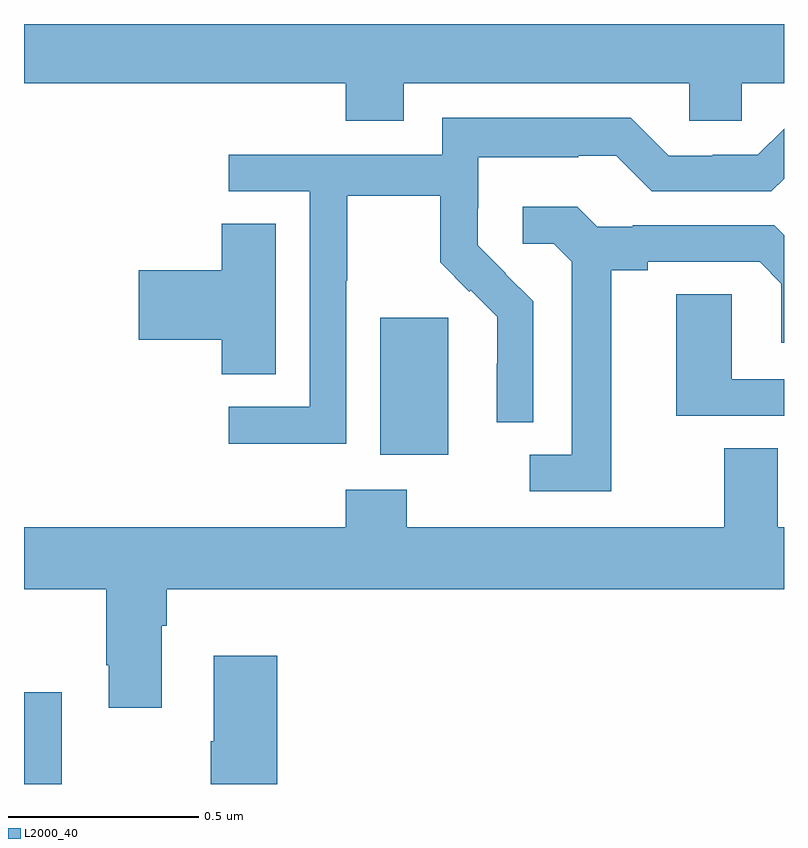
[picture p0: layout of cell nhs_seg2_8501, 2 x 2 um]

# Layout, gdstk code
import gdstk
lib = gdstk.Library(unit=1e-6, precision=1e-09)
def R(c, l, rs):  # rectangles x0, y0, x1, y1
    for r in rs: c.add(gdstk.rectangle(r[:2], r[2:], *l))
def P(c, l, *ps):  # polygons
    for p in ps: c.add(gdstk.Polygon(p, *l))
L2000_40 = (2000, 40)

nhs_seg2_8501 = lib.new_cell('nhs_seg2_8501')
R(nhs_seg2_8501, L2000_40, [(217,637.8,217.099,638.041), (217.937,638.666,218.116,639.027)])
P(nhs_seg2_8501, L2000_40, [(217.999,639.644),(218.751,639.644),(218.751,639.546),(218.889,639.546),(218.889,639.644),(219,639.644),(219,639.8),(217,639.8),(217,639.644),(217.847,639.644),(217.847,639.545),(217.999,639.545)],
  [(217.848,639.124),(217.851,639.124),(217.851,639.348),(218.095,639.348),(218.095,639.173),(218.172,639.096),(218.175,639.099),(218.246,639.029),(218.246,638.906),(218.244,638.906),(218.244,638.752),(218.34,638.752),(218.34,639.07),(218.267,639.143),(218.268,639.144),(218.194,639.218),(218.194,639.315),(218.196,639.315),(218.196,639.449),(218.459,639.449),(218.459,639.453),(218.559,639.453),(218.652,639.36),(218.967,639.36),(219,639.393),(219,639.525),(218.931,639.456),(218.813,639.456),(218.813,639.453),(218.697,639.453),(218.597,639.553),(218.1,639.553),(218.1,639.456),(217.539,639.456),(217.539,639.36),(217.752,639.36),(217.752,638.793),(217.539,638.793),(217.539,638.695),(217.848,638.695)],
  [(218.545,639.152),(218.641,639.152),(218.641,639.174),(218.936,639.174),(218.993,639.117),(218.993,638.961),(219,638.961),(219,639.244),(218.974,639.27),(218.602,639.27),(218.602,639.267),(218.508,639.267),(218.456,639.319),(218.313,639.319),(218.313,639.222),(218.394,639.222),(218.441,639.175),(218.441,638.667),(218.331,638.667),(218.331,638.571),(218.545,638.571)],
  [(217.663,639.275),(217.52,639.275),(217.52,639.152),(217.302,639.152),(217.302,638.969),(217.52,638.969),(217.52,638.878),(217.663,638.878)],
  [(219,638.865),(218.862,638.865),(218.862,639.089),(218.717,639.089),(218.717,638.769),(219,638.769)],
  [(217.363,638.216),(217.376,638.216),(217.376,638.312),(219,638.312),(219,638.476),(218.983,638.476),(218.983,638.684),(218.843,638.684),(218.843,638.476),(218.007,638.476),(218.007,638.575),(217.847,638.575),(217.847,638.476),(217,638.476),(217,638.312),(217.216,638.312),(217.216,638.113),(217.223,638.113),(217.223,638.001),(217.363,638.001)],
  [(217.667,638.137),(217.499,638.137),(217.499,637.913),(217.492,637.913),(217.492,637.8),(217.667,637.8)])

lib.write_gds('nhs_seg2_8501.gds')
